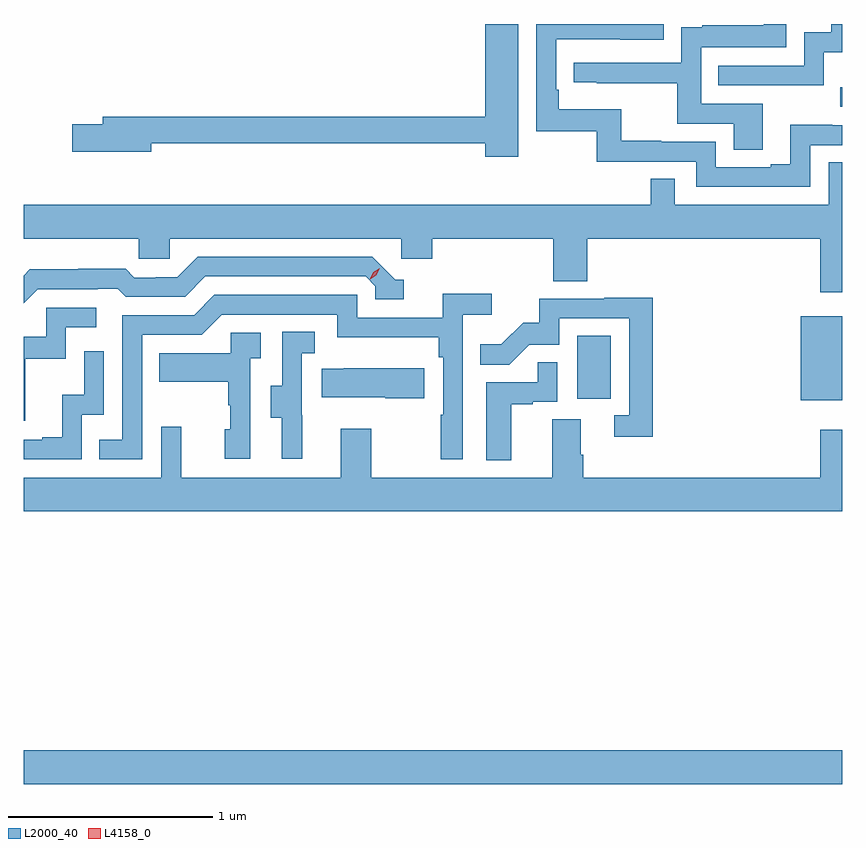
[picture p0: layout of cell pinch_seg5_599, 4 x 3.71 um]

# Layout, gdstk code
import gdstk
lib = gdstk.Library(unit=1e-6, precision=1e-09)
def R(c, l, rs):  # rectangles x0, y0, x1, y1
    for r in rs: c.add(gdstk.rectangle(r[:2], r[2:], *l))
def P(c, l, *ps):  # polygons
    for p in ps: c.add(gdstk.Polygon(p, *l))
L2000_40 = (2000, 40)
L4158_0 = (4158, 0)

pinch_seg5_599 = lib.new_cell('pinch_seg5_599')
R(pinch_seg5_599, L2000_40, [(1106.157,860.756,1110.157,860.92), (1109.954,862.631,1110.157,863.041), (1108.862,862.638,1109.026,862.945), (1110.147,864.063,1110.157,864.16)])
P(pinch_seg5_599, L2000_40, [(1109.767,864.078),(1109.466,864.078),(1109.466,864.354),(1109.883,864.354),(1109.883,864.468),(1109.772,864.468),(1109.772,864.463),(1109.473,864.463),(1109.473,864.451),(1109.37,864.451),(1109.37,864.279),(1108.845,864.279),(1108.845,864.183),(1108.957,864.183),(1108.957,864.178),(1109.35,864.178),(1109.35,863.982),(1109.627,863.982),(1109.627,863.854),(1109.767,863.854)],
  [(1110,863.877),(1110.157,863.877),(1110.157,863.973),(1110.108,863.973),(1110.108,863.975),(1109.903,863.975),(1109.903,863.782),(1109.807,863.782),(1109.807,863.769),(1109.538,863.769),(1109.538,863.892),(1109.273,863.892),(1109.273,863.897),(1109.077,863.897),(1109.077,864.052),(1108.772,864.052),(1108.772,864.148),(1108.758,864.148),(1108.758,864.393),(1109.071,864.393),(1109.071,864.392),(1109.285,864.392),(1109.285,864.468),(1108.662,864.468),(1108.662,863.943),(1108.956,863.943),(1108.956,863.796),(1109.442,863.796),(1109.442,863.673),(1110,863.673)],
  [(1110.066,864.329),(1110.157,864.329),(1110.157,864.468),(1110.102,864.468),(1110.102,864.427),(1109.97,864.427),(1109.97,864.264),(1109.551,864.264),(1109.551,864.168),(1110.066,864.168)],
  [(1108.573,864.468),(1108.412,864.468),(1108.412,864.014),(1106.543,864.014),(1106.543,863.978),(1106.394,863.978),(1106.394,863.843),(1106.782,863.843),(1106.782,863.886),(1108.412,863.886),(1108.412,863.82),(1108.573,863.82)],
  [(1110.157,863.792),(1110.089,863.792),(1110.089,863.584),(1109.337,863.584),(1109.337,863.711),(1109.221,863.711),(1109.221,863.584),(1106.157,863.584),(1106.157,863.42),(1106.721,863.42),(1106.721,863.322),(1106.871,863.322),(1106.871,863.42),(1108.002,863.42),(1108.002,863.322),(1108.154,863.322),(1108.154,863.42),(1108.745,863.42),(1108.745,863.212),(1108.91,863.212),(1108.91,863.42),(1110.049,863.42),(1110.049,863.157),(1110.157,863.157)],
  [(1106.226,863.172),(1106.519,863.172),(1106.519,863.175),(1106.618,863.175),(1106.657,863.136),(1106.946,863.136),(1107.045,863.235),(1107.828,863.235),(1107.876,863.187),(1107.876,863.124),(1108.015,863.124),(1108.015,863.22),(1107.972,863.22),(1107.861,863.331),(1107.008,863.331),(1106.909,863.232),(1106.802,863.232),(1106.802,863.229),(1106.699,863.229),(1106.657,863.272),(1106.424,863.272),(1106.424,863.269),(1106.188,863.269),(1106.157,863.238),(1106.157,863.103)],
  [(1106.736,862.95),(1107.027,862.95),(1107.126,863.049),(1107.69,863.049),(1107.69,862.937),(1108.186,862.937),(1108.186,862.841),(1108.206,862.841),(1108.206,862.559),(1108.194,862.559),(1108.194,862.341),(1108.302,862.341),(1108.302,863.048),(1108.444,863.048),(1108.444,863.15),(1108.205,863.15),(1108.205,863.034),(1107.786,863.034),(1107.786,863.145),(1107.089,863.145),(1106.99,863.046),(1106.64,863.046),(1106.64,862.437),(1106.527,862.437),(1106.527,862.341),(1106.736,862.341)],
  [(1109.231,863.132),(1108.993,863.132),(1108.993,863.127),(1108.675,863.127),(1108.675,863.01),(1108.598,863.01),(1108.491,862.903),(1108.387,862.903),(1108.387,862.804),(1108.53,862.804),(1108.628,862.902),(1108.773,862.902),(1108.773,863.031),(1109.115,863.031),(1109.115,862.557),(1109.043,862.557),(1109.043,862.452),(1109.231,862.452)],
  [(1106.165,862.833),(1106.364,862.833),(1106.364,862.986),(1106.512,862.986),(1106.512,863.082),(1106.268,863.082),(1106.268,862.941),(1106.157,862.941),(1106.157,862.53),(1106.165,862.53)],
  [(1107.518,862.557),(1107.516,862.557),(1107.516,862.861),(1107.58,862.861),(1107.58,862.964),(1107.42,862.964),(1107.42,862.701),(1107.365,862.701),(1107.365,862.546),(1107.419,862.546),(1107.419,862.344),(1107.518,862.344)],
  [(1107.264,862.835),(1107.316,862.835),(1107.316,862.959),(1107.168,862.959),(1107.168,862.861),(1106.821,862.861),(1106.821,862.721),(1107.156,862.721),(1107.156,862.607),(1107.166,862.607),(1107.166,862.488),(1107.14,862.488),(1107.14,862.344),(1107.264,862.344)],
  [(1106.442,862.56),(1106.55,862.56),(1106.55,862.87),(1106.454,862.87),(1106.454,862.658),(1106.345,862.658),(1106.345,862.45),(1106.249,862.45),(1106.249,862.437),(1106.157,862.437),(1106.157,862.341),(1106.442,862.341)],
  [(1108.54,862.611),(1108.643,862.611),(1108.643,862.623),(1108.764,862.623),(1108.764,862.817),(1108.669,862.817),(1108.669,862.719),(1108.418,862.719),(1108.418,862.337),(1108.54,862.337)],
  [(1108.114,862.786),(1107.721,862.786),(1107.721,862.783),(1107.613,862.783),(1107.613,862.646),(1107.923,862.646),(1107.923,862.639),(1108.114,862.639)],
  [(1110.157,862.486),(1110.049,862.486),(1110.049,862.252),(1108.892,862.252),(1108.892,862.364),(1108.879,862.364),(1108.879,862.538),(1108.739,862.538),(1108.739,862.252),(1107.855,862.252),(1107.855,862.492),(1107.707,862.492),(1107.707,862.252),(1106.927,862.252),(1106.927,862.501),(1106.829,862.501),(1106.829,862.252),(1106.157,862.252),(1106.157,862.088),(1110.157,862.088)])
P(pinch_seg5_599, L4158_0, [(1107.85,863.222),(1107.85,863.223),(1107.866,863.256),(1107.897,863.275),(1107.897,863.275),(1107.897,863.275),(1107.881,863.242),(1107.85,863.222)])

lib.write_gds('pinch_seg5_599.gds')
